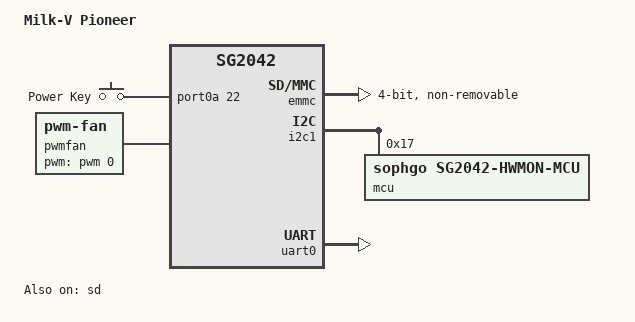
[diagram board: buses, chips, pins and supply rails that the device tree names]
// SPDX-License-Identifier: GPL-2.0 OR MIT
/*
 * Copyright (C) 2022 Sophgo Technology Inc. All rights reserved.
 */

#include "sg2042.dtsi"

#include <dt-bindings/gpio/gpio.h>
#include <dt-bindings/input/input.h>

/ {
	model = "Milk-V Pioneer";
	compatible = "milkv,pioneer", "sophgo,sg2042";

	chosen {
		stdout-path = "serial0";
	};

	gpio-power {
		compatible = "gpio-keys";

		key-power {
			label = "Power Key";
			linux,code = <KEY_POWER>;
			gpios = <&port0a 22 GPIO_ACTIVE_HIGH>;
			linux,input-type = <EV_KEY>;
			debounce-interval = <100>;
		};
	};
};

&cgi_main {
	clock-frequency = <25000000>;
};

&cgi_dpll0 {
	clock-frequency = <25000000>;
};

&cgi_dpll1 {
	clock-frequency = <25000000>;
};

&emmc {
	pinctrl-0 = <&emmc_cfg>;
	pinctrl-names = "default";
	bus-width = <4>;
	no-sdio;
	no-sd;
	non-removable;
	wp-inverted;
	status = "okay";
};

&i2c1 {
	pinctrl-0 = <&i2c1_cfg>;
	pinctrl-names = "default";
	status = "okay";

	mcu: syscon@17 {
		compatible = "sophgo,sg2042-hwmon-mcu";
		reg = <0x17>;
		#thermal-sensor-cells = <1>;
	};
};

&pinctrl {
	emmc_cfg: sdhci-emmc-cfg {
		sdhci-emmc-wp-pins {
			pinmux = <PINMUX(PIN_EMMC_WP, 0)>;
			bias-disable;
			drive-strength-microamp = <26800>;
			input-schmitt-disable;
		};

		sdhci-emmc-cd-pins {
			pinmux = <PINMUX(PIN_EMMC_CD, 0)>;
			bias-pull-up;
			drive-strength-microamp = <26800>;
			input-schmitt-enable;
		};

		sdhci-emmc-rst-pwr-pins {
			pinmux = <PINMUX(PIN_EMMC_RST, 0)>,
				 <PINMUX(PIN_EMMC_PWR_EN, 0)>;
			bias-disable;
			drive-strength-microamp = <26800>;
			input-schmitt-disable;
		};
	};

	i2c1_cfg: i2c1-cfg {
		i2c1-pins {
			pinmux = <PINMUX(PIN_IIC1_SDA, 0)>,
				 <PINMUX(PIN_IIC1_SCL, 0)>;
			bias-pull-up;
			drive-strength-microamp = <26800>;
			input-schmitt-enable;
		};
	};

	sd_cfg: sdhci-sd-cfg {
		sdhci-sd-cd-wp-pins {
			pinmux = <PINMUX(PIN_SDIO_CD, 0)>,
				 <PINMUX(PIN_SDIO_WP, 0)>;
			bias-pull-up;
			drive-strength-microamp = <26800>;
			input-schmitt-enable;
		};

		sdhci-sd-rst-pwr-pins {
			pinmux = <PINMUX(PIN_SDIO_RST, 0)>,
				 <PINMUX(PIN_SDIO_PWR_EN, 0)>;
			bias-disable;
			drive-strength-microamp = <26800>;
			input-schmitt-disable;
		};
	};

	uart0_cfg: uart0-cfg {
		uart0-rx-pins {
			pinmux = <PINMUX(PIN_UART0_TX, 0)>,
				 <PINMUX(PIN_UART0_RX, 0)>;
			bias-pull-up;
			drive-strength-microamp = <26800>;
			input-schmitt-enable;
		};
	};
};

&sd {
	pinctrl-0 = <&sd_cfg>;
	pinctrl-names = "default";
	bus-width = <4>;
	no-sdio;
	no-mmc;
	wp-inverted;
	status = "okay";
};

&uart0 {
	pinctrl-0 = <&uart0_cfg>;
	pinctrl-names = "default";
	status = "okay";
};

/ {
	pwmfan: pwm-fan {
		compatible = "pwm-fan";
		cooling-levels = <103 128 179 230 255>;
		pwms = <&pwm 0 40000 0>;
		#cooling-cells = <2>;
	};

	thermal-zones {
		soc-thermal {
			polling-delay-passive = <1000>;
			polling-delay = <1000>;
			thermal-sensors = <&mcu 0>;

			trips {
				soc_active1: soc-active1 {
					temperature = <30000>;
					hysteresis = <8000>;
					type = "active";
				};

				soc_active2: soc-active2 {
					temperature = <58000>;
					hysteresis = <12000>;
					type = "active";
				};

				soc_active3: soc-active3 {
					temperature = <70000>;
					hysteresis = <10000>;
					type = "active";
				};

				soc_hot: soc-hot {
					temperature = <80000>;
					hysteresis = <5000>;
					type = "hot";
				};
			};

			cooling-maps {
				map0 {
					trip = <&soc_active1>;
					cooling-device = <&pwmfan 0 1>;
				};

				map1 {
					trip = <&soc_active2>;
					cooling-device = <&pwmfan 1 2>;
				};

				map2 {
					trip = <&soc_active3>;
					cooling-device = <&pwmfan 2 3>;
				};

				map3 {
					trip = <&soc_hot>;
					cooling-device = <&pwmfan 3 4>;
				};
			};
		};

		board-thermal {
			polling-delay-passive = <1000>;
			polling-delay = <1000>;
			thermal-sensors = <&mcu 1>;

			trips {
				board_active: board-active {
					temperature = <75000>;
					hysteresis = <8000>;
					type = "active";
				};
			};

			cooling-maps {
				map4 {
					trip = <&board_active>;
					cooling-device = <&pwmfan 3 4>;
				};
			};
		};
	};
};
